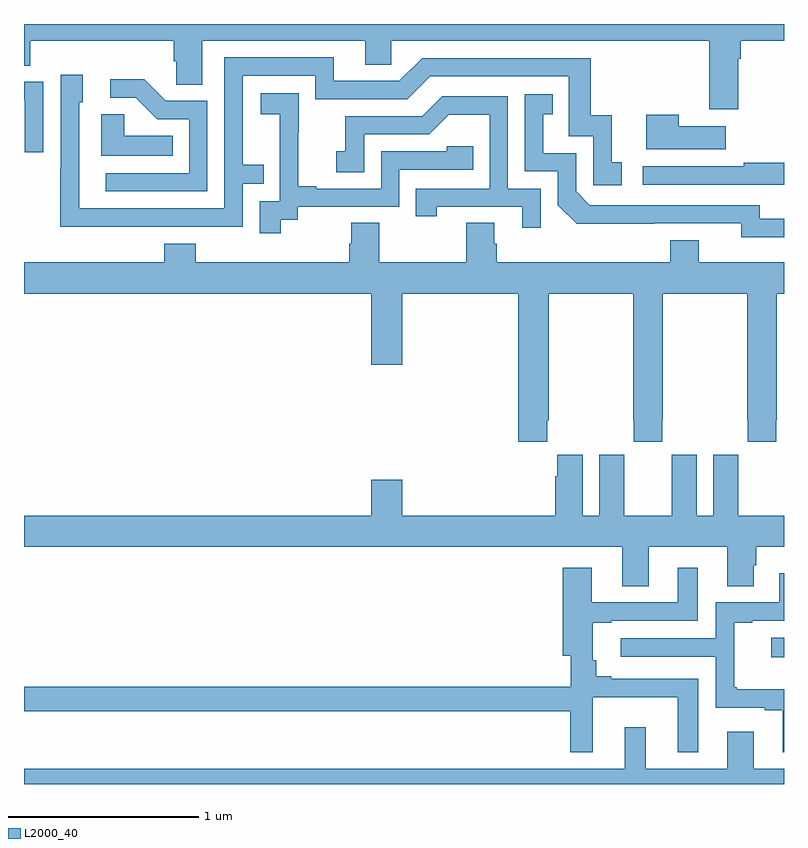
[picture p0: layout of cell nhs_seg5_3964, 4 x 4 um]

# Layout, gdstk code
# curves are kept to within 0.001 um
import gdstk
lib = gdstk.Library(unit=1e-6, precision=1e-09)
def R(c, l, rs):  # rectangles x0, y0, x1, y1
    for r in rs: c.add(gdstk.rectangle(r[:2], r[2:], *l))
def P(c, l, *ps):  # polygons
    for p in ps: c.add(gdstk.Polygon(p, *l))
L2000_40 = (2000, 40)

nhs_seg5_3964 = lib.new_cell('nhs_seg5_3964')
R(nhs_seg5_3964, L2000_40, [(346.932,901.466,347,901.57)])
P(nhs_seg5_3964, L2000_40, [(346.759,904.616),(346.772,904.616),(346.772,904.712),(347,904.712),(347,904.799),(343,904.799),(343,904.579),(343.034,904.579),(343.034,904.712),(343.787,904.712),(343.787,904.603),(343.8,904.603),(343.8,904.48),(343.939,904.48),(343.939,904.712),(344.795,904.712),(344.795,904.585),(344.934,904.585),(344.934,904.712),(346.607,904.712),(346.607,904.35),(346.759,904.35)],
  [(343.655,903.732),(344.151,903.732),(344.151,903.957),(344.261,903.957),(344.261,904.058),(344.151,904.058),(344.151,904.527),(344.532,904.527),(344.532,904.404),(345.018,904.404),(345.138,904.524),(345.867,904.524),(345.867,904.209),(345.996,904.209),(345.996,903.951),(346.147,903.951),(346.147,904.071),(346.094,904.071),(346.094,904.318),(345.983,904.318),(345.983,904.62),(345.096,904.62),(344.976,904.5),(344.629,904.5),(344.629,904.623),(344.055,904.623),(344.055,903.828),(343.29,903.828),(343.29,904.386),(343.309,904.386),(343.309,904.531),(343.194,904.531),(343.194,904.037),(343.192,904.037),(343.192,903.731)],
  [(343.965,904.395),(343.746,904.395),(343.633,904.508),(343.455,904.508),(343.455,904.41),(343.589,904.41),(343.7,904.299),(343.869,904.299),(343.869,904.014),(343.431,904.014),(343.431,903.918),(343.965,903.918)],
  [(343.101,904.494),(343,904.494),(343,904.398),(343.005,904.398),(343.005,904.125),(343.101,904.125)],
  [(344.35,903.769),(344.442,903.769),(344.442,903.837),(344.976,903.837),(344.976,904.032),(345.365,904.032),(345.365,904.155),(345.225,904.155),(345.225,904.128),(344.88,904.128),(344.88,903.933),(344.539,903.933),(344.539,903.946),(344.444,903.946),(344.444,904.229),(344.445,904.229),(344.445,904.435),(344.247,904.435),(344.247,904.325),(344.345,904.325),(344.345,904.097),(344.346,904.097),(344.346,903.867),(344.241,903.867),(344.241,903.699),(344.35,903.699)],
  [(347,903.774),(346.872,903.774),(346.872,903.846),(345.978,903.846),(345.906,903.918),(345.906,904.119),(345.733,904.119),(345.733,904.323),(345.782,904.323),(345.782,904.429),(345.636,904.429),(345.636,904.023),(345.81,904.023),(345.81,903.846),(345.908,903.749),(346.776,903.75),(346.776,903.677),(347,903.677)],
  [(345.72,903.933),(345.546,903.933),(345.546,904.419),(345.2,904.419),(345.095,904.314),(344.692,904.314),(344.692,904.129),(344.643,904.129),(344.643,904.02),(344.79,904.02),(344.79,904.218),(345.132,904.218),(345.236,904.322),(345.45,904.322),(345.45,903.933),(345.061,903.933),(345.061,903.786),(345.172,903.786),(345.172,903.837),(345.623,903.837),(345.623,903.726),(345.72,903.726)],
  [(343.784,904.21),(343.527,904.21),(343.527,904.325),(343.406,904.325),(343.406,904.106),(343.784,904.106)],
  [(346.693,904.261),(346.445,904.261),(346.445,904.321),(346.274,904.321),(346.274,904.139),(346.693,904.139)],
  [(347,904.07),(346.789,904.07),(346.789,904.05),(346.257,904.05),(346.257,903.954),(347,903.954)],
  [(345.755,902.713),(345.762,902.713),(345.762,903.38),(346.207,903.38),(346.207,902.713),(346.209,902.713),(346.209,902.601),(346.359,902.601),(346.359,902.713),(346.362,902.713),(346.362,903.38),(346.807,903.38),(346.807,902.713),(346.809,902.713),(346.809,902.601),(346.959,902.601),(346.959,902.713),(346.962,902.713),(346.962,903.38),(347,903.38),(347,903.544),(346.552,903.544),(346.552,903.661),(346.4,903.661),(346.4,903.544),(345.488,903.544),(345.488,903.642),(345.475,903.642),(345.475,903.752),(345.328,903.752),(345.328,903.544),(344.871,903.544),(344.871,903.752),(344.723,903.752),(344.723,903.642),(344.711,903.642),(344.711,903.544),(343.904,903.544),(343.904,903.643),(343.739,903.643),(343.739,903.544),(343,903.544),(343,903.38),(344.828,903.38),(344.828,903.006),(344.992,903.006),(344.992,903.38),(345.602,903.38),(345.602,902.601),(345.755,902.601)],
  [(346.148,901.84),(346.288,901.84),(346.288,902.048),(346.7,902.048),(346.7,901.84),(346.84,901.84),(346.84,901.95),(346.853,901.95),(346.853,902.048),(347,902.048),(347,902.212),(346.759,902.212),(346.759,902.42),(346.758,902.42),(346.758,902.533),(346.628,902.533),(346.628,902.212),(346.54,902.212),(346.54,902.533),(346.41,902.533),(346.41,902.42),(346.409,902.42),(346.409,902.212),(346.159,902.212),(346.159,902.42),(346.158,902.42),(346.158,902.533),(346.028,902.533),(346.028,902.212),(345.94,902.212),(345.94,902.533),(345.806,902.533),(345.806,902.42),(345.797,902.42),(345.797,902.212),(344.992,902.212),(344.992,902.401),(344.828,902.401),(344.828,902.212),(343,902.212),(343,902.048),(346.148,902.048)],
  [(345.994,901.256),(346.442,901.256),(346.442,900.965),(346.549,900.965),(346.549,901.353),(346.09,901.353),(346.09,901.366),(346.012,901.366),(346.012,901.45),(345.994,901.45),(345.994,901.647),(346.09,901.647),(346.09,901.659),(346.546,901.659),(346.546,901.936),(346.442,901.936),(346.442,901.755),(345.988,901.755),(345.988,901.936),(345.836,901.936),(345.836,901.475),(345.878,901.475),(345.878,901.31),(343,901.31),(343,901.182),(345.876,901.182),(345.876,900.965),(345.994,900.965)],
  [(347,901.297),(346.75,901.297),(346.75,901.309),(346.739,901.309),(346.739,901.647),(346.834,901.647),(346.834,901.659),(347,901.659),(347,901.909),(346.976,901.909),(346.976,901.755),(346.641,901.755),(346.641,901.566),(346.14,901.566),(346.14,901.47),(346.641,901.47),(346.641,901.2),(346.898,901.2),(346.898,901.188),(346.994,901.188),(346.994,900.965),(347,900.965)],
  [(347,900.88),(346.84,900.88),(346.84,901.075),(346.7,901.075),(346.7,900.88),(346.273,900.88),(346.273,901.099),(346.163,901.099),(346.163,900.88),(343,900.88),(343,900.799),(347,900.799)])

lib.write_gds('nhs_seg5_3964.gds')
